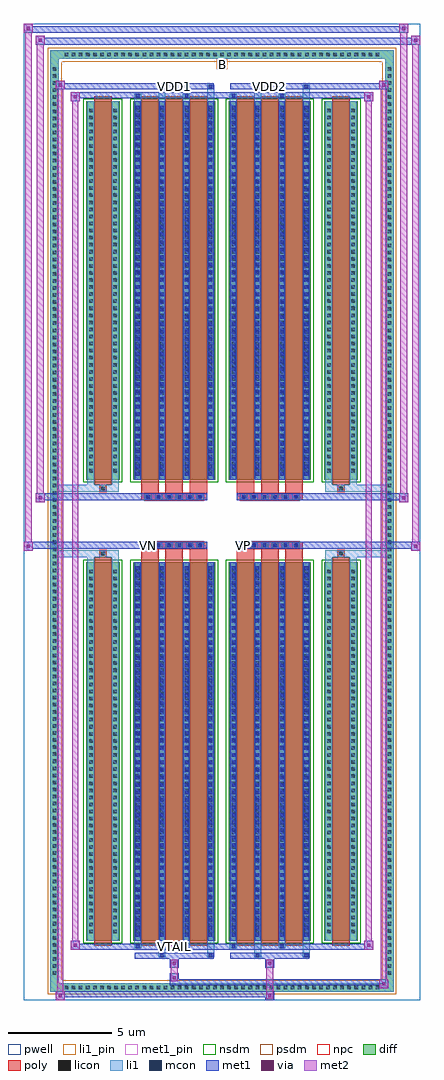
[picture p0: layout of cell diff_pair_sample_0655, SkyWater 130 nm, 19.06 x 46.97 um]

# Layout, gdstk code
import gdstk
lib = gdstk.Library(unit=1e-6, precision=5e-09)
def R(c, l, rs):  # rectangles x0, y0, x1, y1
    for r in rs: c.add(gdstk.rectangle(r[:2], r[2:], *l))
def A(c, l, x, y, w, h, nx, ny, dx, dy):  # array of equal rectangles
    R(c, l, [(x+i*dx, y+j*dy, x+i*dx+w, y+j*dy+h) for i in range(nx) for j in range(ny)])
def P(c, l, *ps):  # polygons
    for p in ps: c.add(gdstk.Polygon(p, *l))
pwell = (64, 44)
diff = (65, 20)
poly = (66, 20)
licon = (66, 44)
li1_pin = (67, 16)
li1 = (67, 20)
mcon = (67, 44)
met1_pin = (68, 16)
met1 = (68, 20)
via = (68, 44)
met2 = (69, 20)
nsdm = (93, 44)
psdm = (94, 20)
npc = (95, 20)

diff_pair_sample_0655 = lib.new_cell('diff_pair_sample_0655')
R(diff_pair_sample_0655, pwell, [(-9.53,-23.05,9.53,23.92), (-6.85,-21.24,-0.01,-0.8), (0.01,-21.24,6.85,-0.8), (-6.85,0.8,-0.01,21.24), (0.01,0.8,6.85,21.24)])
A(diff_pair_sample_0655, diff, -7.685, -22.65, 0.41, 0.41, 45, 2, 0.34, 44.89)
A(diff_pair_sample_0655, diff, -8.26, -21.965, 0.41, 0.41, 1, 129, 0, 0.34)
A(diff_pair_sample_0655, diff, 7.85, -21.965, 0.41, 0.41, 1, 129, 0, 0.34)
R(diff_pair_sample_0655, diff, [(-7.685,-22.65,7.685,-22.24), (-8.26,-21.965,-7.85,21.965), (7.85,-21.965,8.26,21.965), (-6.54,-20.195,-4.92,-1.985), (-4.28,-20.195,-0.32,-1.985), (0.32,-20.195,4.28,-1.985), (4.92,-20.195,6.54,-1.985), (-6.54,1.985,-4.92,20.195), (-4.28,1.985,-0.32,20.195), (0.32,1.985,4.28,20.195), (4.92,1.985,6.54,20.195), (-7.685,22.24,7.685,22.65)])
P(diff_pair_sample_0655, diff, [(8.26,22.65),(-8.26,22.65),(-8.26,-22.24),(-7.85,-22.24),(-7.85,22.24),(7.85,22.24),(7.85,-22.24),(-7.85,-22.24),(-8.26,-22.24),(-8.26,-22.65),(8.26,-22.65)])
A(diff_pair_sample_0655, poly, -3.89, -20.445, 0.84, 18.71, 3, 2, 1.17, 22.18)
A(diff_pair_sample_0655, poly, 0.71, -20.445, 0.84, 18.71, 3, 2, 1.17, 22.18)
A(diff_pair_sample_0655, poly, -3.89, -1.735, 0.84, 0.405, 3, 2, 1.17, 3.065)
A(diff_pair_sample_0655, poly, 0.71, -1.735, 0.84, 0.405, 3, 2, 1.17, 3.065)
A(diff_pair_sample_0655, poly, -3.715, -1.33, 0.33, 0.33, 6, 2, 0.5, 2.33)
A(diff_pair_sample_0655, poly, 0.885, -1.33, 0.33, 0.33, 6, 2, 0.5, 2.33)
R(diff_pair_sample_0655, poly, [(-6.15,-20.445,-5.31,-1.735), (5.31,-20.445,6.15,-1.735), (-5.895,-1.735,-5.565,-1.405), (-5.895,-1.735,-5.565,-1.405), (5.565,-1.735,5.895,-1.405), (5.565,-1.735,5.895,-1.405), (-3.89,-1.33,-0.71,-1), (0.71,-1.33,3.89,-1), (-3.89,1,-0.71,1.33), (0.71,1,3.89,1.33), (-5.895,1.405,-5.565,1.735), (-5.895,1.405,-5.565,1.735), (5.565,1.405,5.895,1.735), (5.565,1.405,5.895,1.735), (-6.15,1.735,-5.31,20.445), (5.31,1.735,6.15,20.445)])
A(diff_pair_sample_0655, licon, -7.565, -22.53, 0.17, 0.17, 45, 2, 0.34, 44.89)
A(diff_pair_sample_0655, licon, -8.14, -21.845, 0.17, 0.17, 1, 129, 0, 0.34)
A(diff_pair_sample_0655, licon, 7.97, -21.845, 0.17, 0.17, 1, 129, 0, 0.34)
A(diff_pair_sample_0655, licon, -6.4, -19.845, 0.17, 0.17, 1, 52, 0, 0.34)
A(diff_pair_sample_0655, licon, -5.23, -19.845, 0.17, 0.17, 1, 52, 0, 0.34)
A(diff_pair_sample_0655, licon, -4.14, -19.845, 0.17, 0.17, 4, 52, 1.17, 0.34)
A(diff_pair_sample_0655, licon, 0.46, -19.845, 0.17, 0.17, 4, 52, 1.17, 0.34)
A(diff_pair_sample_0655, licon, 5.06, -19.845, 0.17, 0.17, 1, 52, 0, 0.34)
A(diff_pair_sample_0655, licon, 6.23, -19.845, 0.17, 0.17, 1, 52, 0, 0.34)
A(diff_pair_sample_0655, licon, -3.635, -1.25, 0.17, 0.17, 6, 2, 0.5, 2.33)
A(diff_pair_sample_0655, licon, 0.965, -1.25, 0.17, 0.17, 6, 2, 0.5, 2.33)
A(diff_pair_sample_0655, licon, -6.4, 2.335, 0.17, 0.17, 1, 52, 0, 0.34)
A(diff_pair_sample_0655, licon, -5.23, 2.335, 0.17, 0.17, 1, 52, 0, 0.34)
A(diff_pair_sample_0655, licon, -4.14, 2.335, 0.17, 0.17, 4, 52, 1.17, 0.34)
A(diff_pair_sample_0655, licon, 0.46, 2.335, 0.17, 0.17, 4, 52, 1.17, 0.34)
A(diff_pair_sample_0655, licon, 5.06, 2.335, 0.17, 0.17, 1, 52, 0, 0.34)
A(diff_pair_sample_0655, licon, 6.23, 2.335, 0.17, 0.17, 1, 52, 0, 0.34)
R(diff_pair_sample_0655, licon, [(-5.815,-1.655,-5.645,-1.485), (5.645,-1.655,5.815,-1.485), (-5.815,1.485,-5.645,1.655), (5.645,1.485,5.815,1.655)])
R(diff_pair_sample_0655, li1_pin, [(-0.25,21.74,0.25,22.24)])
A(diff_pair_sample_0655, li1, -7.645, -22.61, 0.33, 0.33, 45, 2, 0.34, 44.89)
A(diff_pair_sample_0655, li1, -8.22, -21.925, 0.33, 0.33, 1, 129, 0, 0.34)
A(diff_pair_sample_0655, li1, 7.89, -21.925, 0.33, 0.33, 1, 129, 0, 0.34)
A(diff_pair_sample_0655, li1, -4.22, -20.195, 0.33, 18.21, 4, 2, 1.17, 22.18)
A(diff_pair_sample_0655, li1, 0.38, -20.195, 0.33, 18.21, 4, 2, 1.17, 22.18)
A(diff_pair_sample_0655, li1, -4.14, -19.995, 0.17, 0.17, 4, 50, 1.17, 0.36)
A(diff_pair_sample_0655, li1, -4.14, -19.995, 0.17, 17.81, 4, 2, 1.17, 22.18)
A(diff_pair_sample_0655, li1, 0.46, -19.995, 0.17, 0.17, 4, 50, 1.17, 0.36)
A(diff_pair_sample_0655, li1, 0.46, -19.995, 0.17, 17.81, 4, 2, 1.17, 22.18)
A(diff_pair_sample_0655, li1, -6.48, -19.925, 0.33, 0.33, 1, 52, 0, 0.34)
A(diff_pair_sample_0655, li1, -5.31, -19.925, 0.33, 0.33, 1, 52, 0, 0.34)
A(diff_pair_sample_0655, li1, -4.22, -19.925, 0.33, 0.33, 4, 52, 1.17, 0.34)
A(diff_pair_sample_0655, li1, 0.38, -19.925, 0.33, 0.33, 4, 52, 1.17, 0.34)
A(diff_pair_sample_0655, li1, 4.98, -19.925, 0.33, 0.33, 1, 52, 0, 0.34)
A(diff_pair_sample_0655, li1, 6.15, -19.925, 0.33, 0.33, 1, 52, 0, 0.34)
A(diff_pair_sample_0655, li1, -3.715, -1.33, 0.33, 0.33, 6, 2, 0.5, 2.33)
A(diff_pair_sample_0655, li1, 0.885, -1.33, 0.33, 0.33, 6, 2, 0.5, 2.33)
A(diff_pair_sample_0655, li1, -4.14, 2.185, 0.17, 0.17, 4, 50, 1.17, 0.36)
A(diff_pair_sample_0655, li1, 0.46, 2.185, 0.17, 0.17, 4, 50, 1.17, 0.36)
A(diff_pair_sample_0655, li1, -6.48, 2.255, 0.33, 0.33, 1, 52, 0, 0.34)
A(diff_pair_sample_0655, li1, -5.31, 2.255, 0.33, 0.33, 1, 52, 0, 0.34)
A(diff_pair_sample_0655, li1, -4.22, 2.255, 0.33, 0.33, 4, 52, 1.17, 0.34)
A(diff_pair_sample_0655, li1, 0.38, 2.255, 0.33, 0.33, 4, 52, 1.17, 0.34)
A(diff_pair_sample_0655, li1, 4.98, 2.255, 0.33, 0.33, 1, 52, 0, 0.34)
A(diff_pair_sample_0655, li1, 6.15, 2.255, 0.33, 0.33, 1, 52, 0, 0.34)
R(diff_pair_sample_0655, li1, [(-8.26,-22.65,-7.85,-22.24), (-8.26,-22.65,-7.85,-22.24), (-7.85,-22.65,7.85,-22.24), (7.85,-22.65,8.26,-22.24), (7.85,-22.65,8.26,-22.24), (-8.26,-22.24,-7.85,22.24), (7.85,-22.24,8.26,22.24), (-3.05,-21,-2.72,-20.195), (-2.97,-21,-2.8,-20.83), (-0.71,-21,-0.38,-20.195), (-0.63,-21,-0.46,-20.83), (1.55,-21,1.88,-20.195), (1.63,-21,1.8,-20.83), (3.89,-21,4.22,-20.195), (3.97,-21,4.14,-20.83), (-4.22,-20.57,-3.89,-20.195), (-4.14,-20.57,-3.97,-20.4), (-1.88,-20.57,-1.55,-20.195), (-1.8,-20.57,-1.63,-20.4), (0.38,-20.57,0.71,-20.195), (0.46,-20.57,0.63,-20.4), (2.72,-20.57,3.05,-20.195), (2.8,-20.57,2.97,-20.4), (-6.48,-20.195,-6.15,-1.985), (-5.31,-20.195,-4.98,-1.985), (4.98,-20.195,5.31,-1.985), (6.15,-20.195,6.48,-1.985), (-6.48,-1.985,-6.15,-1.405), (-5.31,-1.985,-4.98,-1.405), (4.98,-1.985,5.31,-1.405), (6.15,-1.985,6.48,-1.405), (-8.26,-1.735,-5.895,-1.405), (-6.48,-1.735,-5.895,-1.405), (-5.895,-1.735,-5.565,-1.405), (-5.565,-1.735,-4.98,-1.405), (4.98,-1.735,5.565,-1.405), (5.565,-1.735,5.895,-1.405), (5.565,-1.735,8.26,-1.405), (5.895,-1.735,6.48,-1.405), (-8.26,1.405,-5.895,1.735), (-6.48,1.405,-5.895,1.735), (-6.48,1.405,-6.15,1.985), (-5.895,1.405,-5.565,1.735), (-5.565,1.405,-4.98,1.735), (-5.31,1.405,-4.98,1.985), (4.98,1.405,5.565,1.735), (4.98,1.405,5.31,1.985), (5.565,1.405,5.895,1.735), (5.565,1.405,8.26,1.735), (5.895,1.405,6.48,1.735), (6.15,1.405,6.48,1.985), (-6.48,1.985,-6.15,20.195), (-5.31,1.985,-4.98,20.195), (4.98,1.985,5.31,20.195), (6.15,1.985,6.48,20.195), (-4.22,20.195,-3.89,20.57), (-3.05,20.195,-2.72,21), (-1.88,20.195,-1.55,20.57), (-0.71,20.195,-0.38,21), (0.38,20.195,0.71,20.57), (1.55,20.195,1.88,21), (2.72,20.195,3.05,20.57), (3.89,20.195,4.22,21), (-4.14,20.4,-3.97,20.57), (-1.8,20.4,-1.63,20.57), (0.46,20.4,0.63,20.57), (2.8,20.4,2.97,20.57), (-2.97,20.83,-2.8,21), (-0.63,20.83,-0.46,21), (1.63,20.83,1.8,21), (3.97,20.83,4.14,21), (-8.26,22.24,-7.85,22.65), (-8.26,22.24,-7.85,22.65), (-7.85,22.24,7.85,22.65), (7.85,22.24,8.26,22.65), (7.85,22.24,8.26,22.65)])
A(diff_pair_sample_0655, mcon, -4.14, -19.995, 0.17, 0.17, 4, 50, 1.17, 0.36)
A(diff_pair_sample_0655, mcon, 0.46, -19.995, 0.17, 0.17, 4, 50, 1.17, 0.36)
A(diff_pair_sample_0655, mcon, -3.635, -1.25, 0.17, 0.17, 6, 2, 0.5, 2.33)
A(diff_pair_sample_0655, mcon, 0.965, -1.25, 0.17, 0.17, 6, 2, 0.5, 2.33)
A(diff_pair_sample_0655, mcon, -4.14, 2.185, 0.17, 0.17, 4, 50, 1.17, 0.36)
A(diff_pair_sample_0655, mcon, 0.46, 2.185, 0.17, 0.17, 4, 50, 1.17, 0.36)
R(diff_pair_sample_0655, mcon, [(-2.97,-21,-2.8,-20.83), (-0.63,-21,-0.46,-20.83), (1.63,-21,1.8,-20.83), (3.97,-21,4.14,-20.83), (-4.14,-20.57,-3.97,-20.4), (-1.8,-20.57,-1.63,-20.4), (0.46,-20.57,0.63,-20.4), (2.8,-20.57,2.97,-20.4), (-4.14,20.4,-3.97,20.57), (-1.8,20.4,-1.63,20.57), (0.46,20.4,0.63,20.57), (2.8,20.4,2.97,20.57), (-2.97,20.83,-2.8,21), (-0.63,20.83,-0.46,21), (1.63,20.83,1.8,21), (3.97,20.83,4.14,21)])
R(diff_pair_sample_0655, met1_pin, [(-2.435,-20.61,-2.165,-20.34), (-3.685,-1.29,-3.415,-1.02), (0.915,-1.29,1.185,-1.02), (-2.435,20.79,-2.165,21.06), (2.165,20.79,2.435,21.06)])
A(diff_pair_sample_0655, met1, -4.2, -20.195, 0.29, 18.21, 4, 2, 1.17, 22.18)
A(diff_pair_sample_0655, met1, 0.4, -20.195, 0.29, 18.21, 4, 2, 1.17, 22.18)
A(diff_pair_sample_0655, met1, -4.2, -20.055, 0.29, 0.29, 4, 50, 1.17, 0.36)
A(diff_pair_sample_0655, met1, 0.4, -20.055, 0.29, 0.29, 4, 50, 1.17, 0.36)
A(diff_pair_sample_0655, met1, -3.695, -1.31, 0.29, 0.29, 6, 2, 0.5, 2.33)
A(diff_pair_sample_0655, met1, 0.905, -1.31, 0.29, 0.29, 6, 2, 0.5, 2.33)
A(diff_pair_sample_0655, met1, -4.2, 2.125, 0.29, 0.29, 4, 50, 1.17, 0.36)
A(diff_pair_sample_0655, met1, 0.4, 2.125, 0.29, 0.29, 4, 50, 1.17, 0.36)
R(diff_pair_sample_0655, met1, [(-7.99,-23.05,-7.56,-22.62), (2.085,-23.05,2.515,-22.62), (-7.99,-22.91,2.515,-22.62), (7.56,-22.48,7.99,-22.05), (-2.515,-22.34,7.99,-22.05), (-2.515,-22.2,-2.085,-21.77), (-2.515,-21.49,-2.085,-21.06), (2.085,-21.49,2.515,-21.06), (-4.2,-21.06,-0.4,-20.77), (-3.03,-21.06,-2.74,-20.77), (-0.69,-21.06,-0.4,-20.77), (0.4,-21.06,4.2,-20.77), (1.57,-21.06,1.86,-20.77), (3.91,-21.06,4.2,-20.77), (-7.28,-20.63,-6.85,-20.2), (-7.28,-20.63,-4.2,-20.34), (-4.2,-20.63,-3.91,-20.34), (-4.2,-20.63,-0.4,-20.34), (-1.86,-20.63,-1.57,-20.34), (-0.4,-20.63,0.4,-20.34), (0.4,-20.63,0.69,-20.34), (0.4,-20.63,4.2,-20.34), (2.74,-20.63,3.03,-20.34), (4.2,-20.63,7.28,-20.34), (6.85,-20.63,7.28,-20.2), (-9.53,-1.43,-9.1,-1), (9.1,-1.43,9.53,-1), (-9.53,-1.33,-0.71,-1), (-3.89,-1.33,-0.71,-1), (0.71,-1.33,3.89,-1), (0.71,-1.33,9.53,-1), (-8.96,0.9,-8.53,1.33), (8.53,0.9,8.96,1.33), (-8.96,1,-3.89,1.33), (-3.89,1,-0.71,1.33), (0.71,1,3.89,1.33), (3.89,1,8.96,1.33), (-7.28,20.2,-6.85,20.63), (6.85,20.2,7.28,20.63), (-7.28,20.34,-4.2,20.63), (-4.2,20.34,-3.91,20.63), (-4.2,20.34,-0.4,20.63), (-1.86,20.34,-1.57,20.63), (-0.4,20.34,0.4,20.63), (0.4,20.34,0.69,20.63), (0.4,20.34,4.2,20.63), (2.74,20.34,3.03,20.63), (4.2,20.34,7.28,20.63), (-7.99,20.77,-7.56,21.2), (-7.99,20.77,-4.2,21.06), (-4.2,20.77,-0.4,21.06), (-3.03,20.77,-2.74,21.06), (-0.69,20.77,-0.4,21.06), (0.4,20.77,4.2,21.06), (1.57,20.77,1.86,21.06), (3.91,20.77,4.2,21.06), (4.2,20.77,7.99,21.06), (7.56,20.77,7.99,21.2), (-8.96,22.92,-8.53,23.35), (-8.96,22.92,-6.85,23.25), (-6.85,22.92,6.85,23.25), (6.85,22.92,9.53,23.25), (9.1,22.92,9.53,23.35), (-9.53,23.49,-9.1,23.92), (-9.53,23.49,-6.85,23.82), (-6.85,23.49,6.85,23.82), (6.85,23.49,8.96,23.82), (8.53,23.49,8.96,23.92)])
R(diff_pair_sample_0655, via, [(-7.85,-22.91,-7.7,-22.76), (2.225,-22.91,2.375,-22.76), (7.7,-22.34,7.85,-22.19), (-2.375,-22.06,-2.225,-21.91), (-2.375,-21.35,-2.225,-21.2), (2.225,-21.35,2.375,-21.2), (-7.14,-20.49,-6.99,-20.34), (6.99,-20.49,7.14,-20.34), (-9.39,-1.29,-9.24,-1.14), (9.24,-1.29,9.39,-1.14), (-8.82,1.04,-8.67,1.19), (8.67,1.04,8.82,1.19), (-7.14,20.34,-6.99,20.49), (6.99,20.34,7.14,20.49), (-7.85,20.91,-7.7,21.06), (7.7,20.91,7.85,21.06), (-8.82,23.06,-8.67,23.21), (9.24,23.06,9.39,23.21), (-9.39,23.63,-9.24,23.78), (8.67,23.63,8.82,23.78)])
R(diff_pair_sample_0655, met2, [(-7.99,-23.05,-7.56,-22.62), (-7.92,-23.05,-7.63,21.2), (-7.63,-23.05,-7.56,-22.62), (-7.94,-23,-7.61,-22.67), (2.135,-23,2.465,-22.67), (2.135,-22.67,2.465,-21.44), (7.56,-22.48,7.99,-22.05), (7.63,-22.48,7.92,21.2), (7.92,-22.48,7.99,-22.05), (7.61,-22.43,7.94,-22.1), (-2.465,-22.15,-2.135,-21.82), (-2.465,-21.82,-2.135,-21.44), (-2.465,-21.44,-2.135,-21.11), (2.135,-21.44,2.465,-21.11), (-7.28,-20.63,-6.85,-20.2), (-7.21,-20.63,-6.92,20.63), (-6.92,-20.63,-6.85,-20.2), (6.85,-20.63,7.28,-20.2), (6.92,-20.63,7.21,20.63), (7.21,-20.63,7.28,-20.2), (-7.23,-20.58,-6.9,-20.25), (6.9,-20.58,7.23,-20.25), (-9.53,-1.43,-9.1,-1), (-9.48,-1.43,-9.15,23.92), (-9.15,-1.43,-9.1,-1), (9.1,-1.43,9.53,-1), (9.15,-1.43,9.48,23.35), (9.48,-1.43,9.53,-1), (-9.48,-1.38,-9.15,-1.05), (9.15,-1.38,9.48,-1.05), (-8.96,0.9,-8.53,1.33), (-8.91,0.9,-8.58,23.35), (-8.58,0.9,-8.53,1.33), (8.53,0.9,8.96,1.33), (8.58,0.9,8.91,23.92), (8.91,0.9,8.96,1.33), (-8.91,0.95,-8.58,1.28), (8.58,0.95,8.91,1.28), (-7.28,20.2,-6.85,20.63), (-6.92,20.2,-6.85,20.63), (6.85,20.2,7.28,20.63), (7.21,20.2,7.28,20.63), (-7.23,20.25,-6.9,20.58), (6.9,20.25,7.23,20.58), (-7.99,20.77,-7.56,21.2), (-7.63,20.77,-7.56,21.2), (7.56,20.77,7.99,21.2), (7.92,20.77,7.99,21.2), (-7.94,20.82,-7.61,21.15), (7.61,20.82,7.94,21.15), (-8.96,22.92,-8.53,23.35), (-8.58,22.92,-8.53,23.35), (9.1,22.92,9.53,23.35), (9.48,22.92,9.53,23.35), (-8.91,22.97,-8.58,23.3), (9.15,22.97,9.48,23.3), (-9.53,23.49,-9.1,23.92), (-9.15,23.49,-9.1,23.92), (8.53,23.49,8.96,23.92), (8.91,23.49,8.96,23.92), (-9.48,23.54,-9.15,23.87), (8.58,23.54,8.91,23.87)])
R(diff_pair_sample_0655, nsdm, [(-6.67,-20.325,-4.79,-1.855), (-4.41,-20.325,-0.19,-1.855), (0.19,-20.325,4.41,-1.855), (4.79,-20.325,6.67,-1.855), (-6.67,1.855,-4.79,20.325), (-4.41,1.855,-0.19,20.325), (0.19,1.855,4.41,20.325), (4.79,1.855,6.67,20.325)])
P(diff_pair_sample_0655, psdm, [(8.39,22.78),(-8.39,22.78),(-8.39,-22.11),(-7.72,-22.11),(-7.72,22.11),(7.72,22.11),(7.72,-22.11),(-7.72,-22.11),(-8.39,-22.11),(-8.39,-22.78),(8.39,-22.78)])
A(diff_pair_sample_0655, npc, -3.735, -1.35, 0.37, 0.37, 6, 2, 0.5, 2.33)
A(diff_pair_sample_0655, npc, 0.865, -1.35, 0.37, 0.37, 6, 2, 0.5, 2.33)
R(diff_pair_sample_0655, npc, [(-5.915,-1.755,-5.545,-1.385), (5.545,-1.755,5.915,-1.385), (-3.735,-1.35,-2.865,-0.98), (-3.735,-1.35,-2.865,-0.98), (-3.235,-1.35,-2.365,-0.98), (-3.235,-1.35,-2.365,-0.98), (-2.735,-1.35,-1.865,-0.98), (-2.735,-1.35,-1.865,-0.98), (-2.235,-1.35,-1.365,-0.98), (-2.235,-1.35,-1.365,-0.98), (-1.735,-1.35,-0.865,-0.98), (-1.735,-1.35,-0.865,-0.98), (0.865,-1.35,1.735,-0.98), (0.865,-1.35,1.735,-0.98), (1.365,-1.35,2.235,-0.98), (1.365,-1.35,2.235,-0.98), (1.865,-1.35,2.735,-0.98), (1.865,-1.35,2.735,-0.98), (2.365,-1.35,3.235,-0.98), (2.365,-1.35,3.235,-0.98), (2.865,-1.35,3.735,-0.98), (2.865,-1.35,3.735,-0.98), (-3.735,0.98,-2.865,1.35), (-3.735,0.98,-2.865,1.35), (-3.235,0.98,-2.365,1.35), (-3.235,0.98,-2.365,1.35), (-2.735,0.98,-1.865,1.35), (-2.735,0.98,-1.865,1.35), (-2.235,0.98,-1.365,1.35), (-2.235,0.98,-1.365,1.35), (-1.735,0.98,-0.865,1.35), (-1.735,0.98,-0.865,1.35), (0.865,0.98,1.735,1.35), (0.865,0.98,1.735,1.35), (1.365,0.98,2.235,1.35), (1.365,0.98,2.235,1.35), (1.865,0.98,2.735,1.35), (1.865,0.98,2.735,1.35), (2.365,0.98,3.235,1.35), (2.365,0.98,3.235,1.35), (2.865,0.98,3.735,1.35), (2.865,0.98,3.735,1.35), (-5.915,1.385,-5.545,1.755), (5.545,1.385,5.915,1.755)])
diff_pair_sample_0655.add(gdstk.Label('VTAIL', (-2.3,-20.475), layer=68, texttype=5))
diff_pair_sample_0655.add(gdstk.Label('VN', (-3.55,-1.155), layer=68, texttype=5))
diff_pair_sample_0655.add(gdstk.Label('VP', (1.05,-1.155), layer=68, texttype=5))
diff_pair_sample_0655.add(gdstk.Label('B', (0,21.99), layer=67, texttype=5))
diff_pair_sample_0655.add(gdstk.Label('VDD2', (2.3,20.925), layer=68, texttype=5))
diff_pair_sample_0655.add(gdstk.Label('VDD1', (-2.3,20.925), layer=68, texttype=5))

lib.write_gds('diff_pair_sample_0655.gds')
